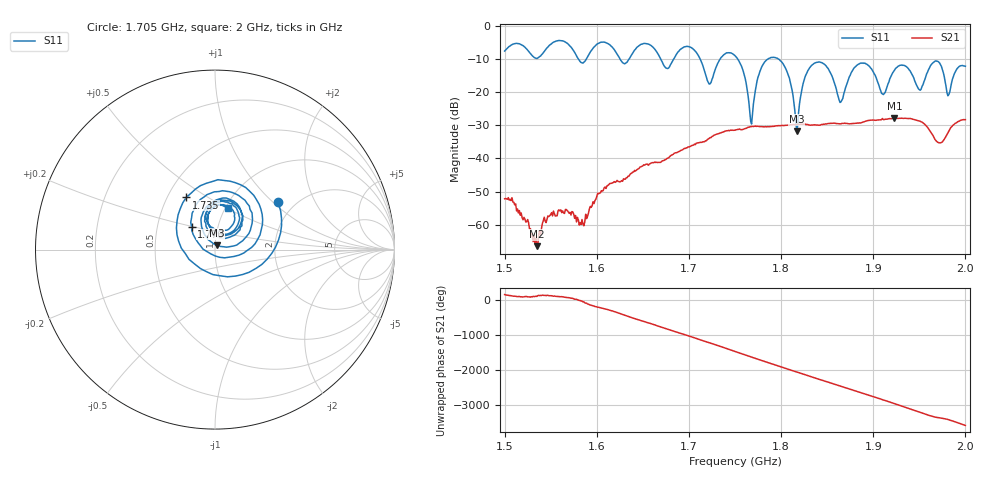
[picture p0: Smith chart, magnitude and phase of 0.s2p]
! NanoVNA-App by SYSJOINT et al v1.1.209 (+OD18)
! Date: 2026-01-21 14:52:23
! Start: 1,5GHz Stop: 2GHz Points: 501
! S-Parameter data: F S11 S21 S12 S22
# Hz S RI R 50
!  Frequency  S11_Real  S11_Imag  S21_Real  S21_Imag  S12_Real  S12_Imag  S22_Real  S22_Imag
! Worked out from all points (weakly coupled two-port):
!   501 points, 1.5 GHz to 2 GHz, reference 50 ohm
!   highest |S21| = -27.88 dB at 1.923 GHz (marker M1); lowest = -66.4 dB at 1.535 GHz (marker M2)
!   lowest |S11| = -31.8 dB at 1.817 GHz (marker M3), VSWR 1.05, Z = 51 + j2.42 ohm
!   |S11| at or under -10 dB: 1.712 GHz to 1.734 GHz (21.9 MHz wide, 1.27 % of centre); 1.753 GHz to 1.786 GHz (33.44 MHz wide, 1.89 % of centre); 1.797 GHz to end of sweep (the widest 3 of 6)
!   S12 and S22 are empty: the file has one direction only
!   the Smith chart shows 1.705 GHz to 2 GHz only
!   S11 on the Smith chart (normalised r, x): 1.705 GHz: 1.64, +1.07; 1.735 GHz: 0.62, +0.41; 1.776 GHz: 0.75, +0.20; 2 GHz: 1.03, +0.51
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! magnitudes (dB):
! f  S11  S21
! 1.5 GHz  -7.7  -52.2
! 1.535 GHz  -9.9  -66.4
! 1.552 GHz  -5.2  -57.3
! 1.584 GHz  -11.2  -58.4
! 1.667 GHz  -8.8  -41.2
! 1.705 GHz  -7.2  -36.0
! 1.722 GHz  -17.6  -34.0
! 1.735 GHz  -9.6  -32.3
! 1.75 GHz  -9.1  -31.5
! 1.767 GHz  -28.8  -30.4
! 1.776 GHz  -14.8  -30.4
! 1.8 GHz  -10.7  -30.1
! 1.817 GHz  -31.8  -29.8
! 1.834 GHz  -11.8  -30.0
! 1.865 GHz  -23.0  -29.6
! 1.885 GHz  -11.5  -29.3
! 1.917 GHz  -17.0  -28.0
! 1.923 GHz  -13.5  -27.9
! 1.951 GHz  -19.5  -28.8
! 1.97 GHz  -10.8  -35.1
! 1.982 GHz  -20.8  -31.8
! 2 GHz  -12.3  -28.3
